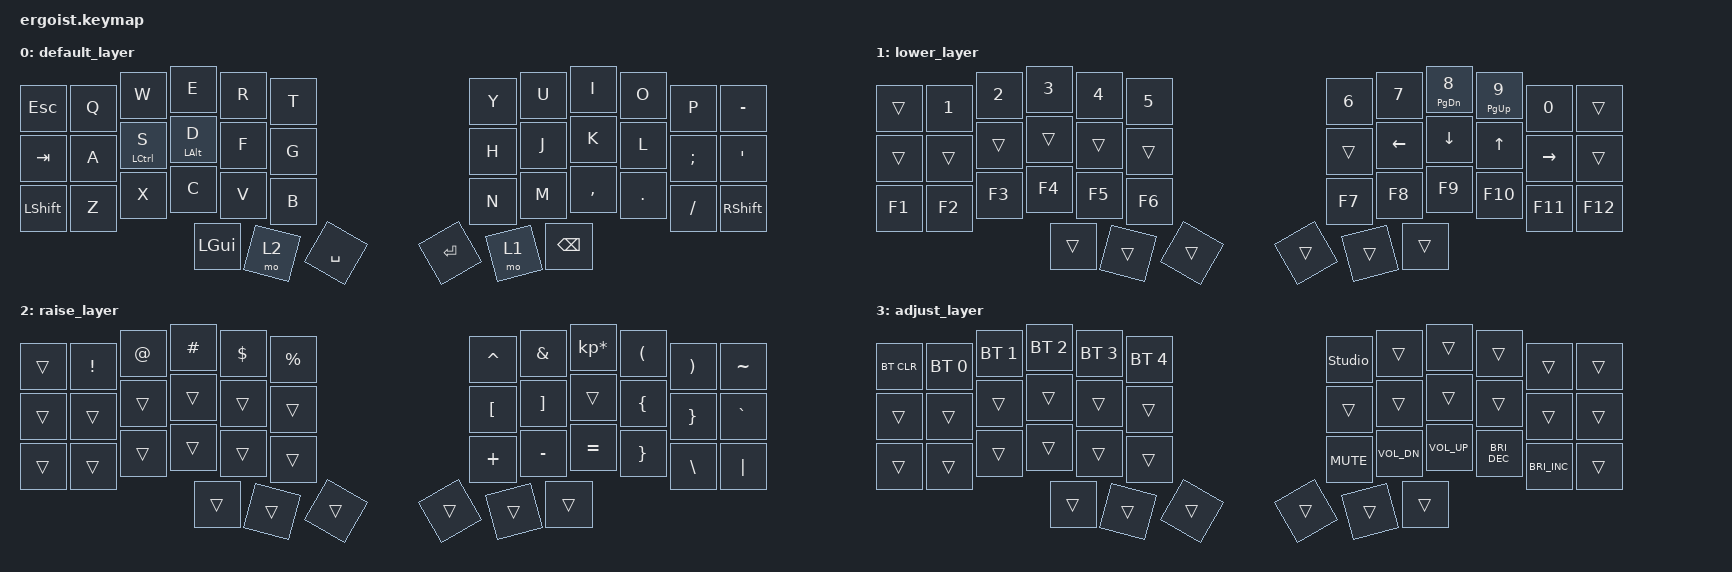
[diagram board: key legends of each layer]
/*
 * Copyright (c) 2020 The ZMK Contributors
 *
 * SPDX-License-Identifier: MIT
 */

#include <behaviors.dtsi>
#include <dt-bindings/zmk/bt.h>
#include <dt-bindings/zmk/keys.h>

/ {
    combos {
        compatible = "zmk,combos";

        caps-words {
            bindings = <&caps_words>;
            key-positions = <24 35>;
        };
    };

    behaviors {
        caps_words: caps_words {
            compatible = "zmk,behavior-caps-word";
            label = "CAPS_WORDS";
            #binding-cells = <0>;
            continue-list = <RIGHT_ARROW LEFT_ARROW BACKSPACE UNDERSCORE SPACE>;
        };

        hmr_l: hmr_l {
            compatible = "zmk,behavior-hold-tap";
            label = "HMR_L";
            bindings = <&kp>, <&kp>;

            #binding-cells = <2>;
            tapping-term-ms = <300>;
            quick-tap-ms = <175>;
            flavor = "balanced";
            hold-trigger-key-positions = <36 38 30 18 6 7 8 9 10 11 19 20 21 22 23 31 32 33 34 35 41 39>;
            hold-trigger-on-release;
        };

        hold_tap: hold_tap {
            compatible = "zmk,behavior-hold-tap";
            label = "HOLD_TAP";
            bindings = <&kp>, <&kp>;

            #binding-cells = <2>;
            tapping-term-ms = <250>;
            quick-tap-ms = <125>;
            flavor = "balanced";
        };
    };

    keymap {
        compatible = "zmk,keymap";

        default_layer {
            bindings = <
&kp ESCAPE  &kp Q  &kp W           &kp E              &kp R  &kp T        &kp Y    &kp U  &kp I          &kp O    &kp P          &kp MINUS
&kp TAB     &kp A  &hmr_l LCTRL S  &hmr_l LEFT_ALT D  &kp F  &kp G        &kp H    &kp J  &kp K          &kp L    &kp SEMICOLON  &kp SQT
&kp LSHFT   &kp Z  &kp X           &kp C              &kp V  &kp B        &kp N    &kp M  &kp COMMA      &kp DOT  &kp FSLH       &kp RIGHT_SHIFT
                                   &kp LGUI           &mo 2  &kp SPACE    &kp RET  &mo 1  &kp BACKSPACE
            >;
        };

        lower_layer {
            bindings = <
&trans  &kp N1  &kp N2  &kp N3  &kp N4  &kp N5    &kp N6  &kp N7          &hold_tap PAGE_DOWN NUMBER_8  &hold_tap PAGE_UP NUMBER_9  &kp N0           &trans
&trans  &trans  &trans  &trans  &trans  &trans    &trans  &kp LEFT_ARROW  &kp DOWN_ARROW                &kp UP_ARROW                &kp RIGHT_ARROW  &trans
&kp F1  &kp F2  &kp F3  &kp F4  &kp F5  &kp F6    &kp F7  &kp F8          &kp F9                        &kp F10                     &kp F11          &kp F12
                        &trans  &trans  &trans    &trans  &trans          &trans
            >;
        };

        raise_layer {
            bindings = <
&trans  &kp EXCL  &kp AT  &kp HASH  &kp DLLR  &kp PRCNT    &kp CARET         &kp AMPS           &kp KP_MULTIPLY  &kp LPAR        &kp RPAR         &kp TILDE
&trans  &trans    &trans  &trans    &trans    &trans       &kp LEFT_BRACKET  &kp RIGHT_BRACKET  &trans           &kp LEFT_BRACE  &kp RIGHT_BRACE  &kp GRAVE
&trans  &trans    &trans  &trans    &trans    &trans       &kp PLUS          &kp MINUS          &kp EQUAL        &kp RBRC        &kp BACKSLASH    &kp PIPE
                          &trans    &trans    &trans       &trans            &trans             &trans
            >;
        };

        adjust_layer {
            bindings = <
&bt BT_CLR  &bt BT_SEL 0  &bt BT_SEL 1  &bt BT_SEL 2  &bt BT_SEL 3  &bt BT_SEL 4    &studio_unlock  &trans        &trans           &trans                &trans                &trans
&trans      &trans        &trans        &trans        &trans        &trans          &trans          &trans        &trans           &trans                &trans                &trans
&trans      &trans        &trans        &trans        &trans        &trans          &kp K_MUTE      &kp C_VOL_DN  &kp C_VOLUME_UP  &kp C_BRIGHTNESS_DEC  &kp C_BRIGHTNESS_INC  &trans
                                        &trans        &trans        &trans          &trans          &trans        &trans
            >;
        };

        extra1 {
            status = "reserved";
        };

        extra2 {
            status = "reserved";
        };
    };

    conditional_layers {
        compatible = "zmk,conditional-layers";

        adjust_layer {
            if-layers = <1 2>;
            then-layer = <3>;
        };
    };
};
